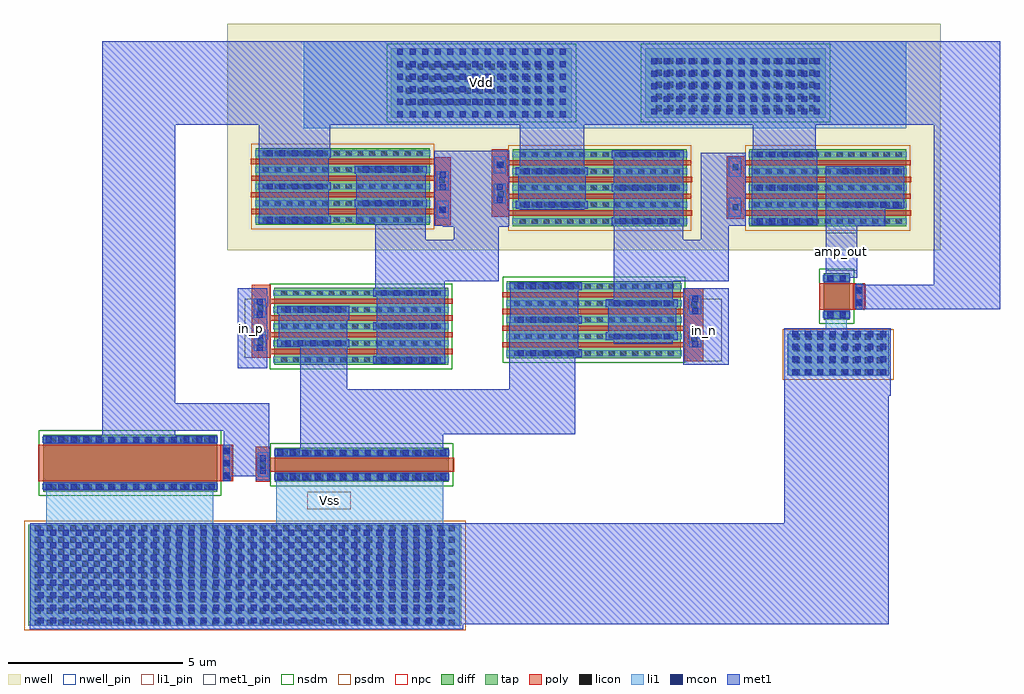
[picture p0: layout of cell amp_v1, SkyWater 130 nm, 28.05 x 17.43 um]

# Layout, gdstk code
from math import pi, radians
import gdstk
lib = gdstk.Library(unit=1e-6, precision=1e-09)
def R(c, l, rs):  # rectangles x0, y0, x1, y1
    for r in rs: c.add(gdstk.rectangle(r[:2], r[2:], *l))
def A(c, l, x, y, w, h, nx, ny, dx, dy):  # array of equal rectangles
    R(c, l, [(x+i*dx, y+j*dy, x+i*dx+w, y+j*dy+h) for i in range(nx) for j in range(ny)])
nwell_pin = (64, 16)
nwell = (64, 20)
diff = (65, 20)
tap = (65, 44)
poly = (66, 20)
licon = (66, 44)
li1_pin = (67, 16)
li1 = (67, 20)
mcon = (67, 44)
met1_pin = (68, 16)
met1 = (68, 20)
nsdm = (93, 44)
psdm = (94, 20)
npc = (95, 20)

sky130_fd_pr__nfet_01v8_ = lib.new_cell('sky130_fd_pr__nfet_01v8_L7MCXF')
R(sky130_fd_pr__nfet_01v8_, diff, [(-1.105,-2.5,1.105,2.5)])
A(sky130_fd_pr__nfet_01v8_, poly, -0.795, -2.59, 0.15, 5.22, 4, 1, 0.48, 0)
R(sky130_fd_pr__nfet_01v8_, poly, [(-1.195,-3.14,0.905,-2.59)])
A(sky130_fd_pr__nfet_01v8_, licon, -1.045, -2.295, 0.17, 0.17, 5, 14, 0.48, 0.34)
R(sky130_fd_pr__nfet_01v8_, licon, [(-0.605,-2.975,-0.435,-2.805), (0.345,-2.975,0.515,-2.805)])
A(sky130_fd_pr__nfet_01v8_, li1, -1.045, -2.52, 0.17, 5.04, 5, 1, 0.48, 0)
R(sky130_fd_pr__nfet_01v8_, li1, [(-0.795,-3.09,-0.245,-2.74), (0.155,-3.09,0.705,-2.74)])
A(sky130_fd_pr__nfet_01v8_, mcon, -0.565, -2.185, 0.17, 0.17, 1, 5, 0, 0.36)
A(sky130_fd_pr__nfet_01v8_, mcon, 0.395, -2.185, 0.17, 0.17, 1, 5, 0, 0.36)
A(sky130_fd_pr__nfet_01v8_, mcon, -1.045, 0.575, 0.17, 0.17, 3, 5, 0.96, 0.36)
R(sky130_fd_pr__nfet_01v8_, mcon, [(-0.785,-3,-0.615,-2.83), (-0.425,-3,-0.255,-2.83), (0.165,-3,0.335,-2.83), (0.525,-3,0.695,-2.83)])
A(sky130_fd_pr__nfet_01v8_, met1, -1.075, 0.345, 0.23, 0.105, 3, 1, 0.96, 0)
A(sky130_fd_pr__nfet_01v8_, met1, -1.075, 2.4, 0.23, 0.015, 3, 1, 0.96, 0)
R(sky130_fd_pr__nfet_01v8_, met1, [(-0.795,-3.09,-0.245,-2.74), (0.155,-3.09,0.705,-2.74), (-0.865,-2.69,-0.575,-2.66), (0.095,-2.69,0.385,-2.66), (-0.595,-2.415,-0.365,-2.37), (0.365,-2.415,0.595,-2.37), (-0.595,-2.37,0.595,-0.41), (-0.595,-0.41,-0.365,-0.345), (0.365,-0.41,0.595,-0.345), (-1.075,0.45,1.075,2.4)])
R(sky130_fd_pr__nfet_01v8_, nsdm, [(-1.23,-2.625,1.23,2.625)])
R(sky130_fd_pr__nfet_01v8_, npc, [(-0.705,-3.075,-0.335,-2.705), (0.245,-3.075,0.615,-2.705)])

sky130_fd_pr__pfet_01v8_ = lib.new_cell('sky130_fd_pr__pfet_01v8_CQ5Q4H')
R(sky130_fd_pr__pfet_01v8_, nwell, [(-1.285,-3,0.805,-2.93), (-1.285,-2.93,0.055,-2.91), (0.44,-2.93,0.805,-2.81), (-1.285,-2.91,-0.94,-2.705), (-0.555,-2.91,0.055,-2.725), (0.44,-2.81,1.285,-2.725), (-0.555,-2.725,1.285,-2.705), (-1.285,-2.705,1.285,2.65), (-1.285,2.65,-0.865,2.81), (0.985,2.65,1.285,3)])
R(sky130_fd_pr__pfet_01v8_, diff, [(-1.105,-2.5,1.105,2.5)])
R(sky130_fd_pr__pfet_01v8_, poly, [(-1.115,-3.1,0.835,-2.65), (-0.795,-2.65,-0.645,2.63), (-0.315,-2.65,-0.165,2.65), (0.165,-2.65,0.315,2.63), (0.645,-2.65,0.795,2.65)])
A(sky130_fd_pr__pfet_01v8_, licon, -1.045, -2.295, 0.17, 0.17, 5, 14, 0.48, 0.34)
R(sky130_fd_pr__pfet_01v8_, licon, [(-0.75,-2.935,-0.58,-2.765), (0.1,-2.935,0.27,-2.765)])
A(sky130_fd_pr__pfet_01v8_, li1, -1.045, -2.52, 0.17, 5.04, 5, 1, 0.48, 0)
R(sky130_fd_pr__pfet_01v8_, li1, [(-0.915,-3.05,-0.415,-2.7), (-0.115,-3.05,0.435,-2.7)])
A(sky130_fd_pr__pfet_01v8_, mcon, -0.565, -2.185, 0.17, 0.17, 1, 5, 0, 0.36)
A(sky130_fd_pr__pfet_01v8_, mcon, 0.395, -2.185, 0.17, 0.17, 1, 5, 0, 0.36)
A(sky130_fd_pr__pfet_01v8_, mcon, -1.045, 0.575, 0.17, 0.17, 3, 5, 0.96, 0.36)
R(sky130_fd_pr__pfet_01v8_, mcon, [(-0.75,-2.96,-0.58,-2.79), (-0.105,-2.96,0.065,-2.79), (0.255,-2.96,0.425,-2.79)])
A(sky130_fd_pr__pfet_01v8_, met1, -1.075, 0.345, 0.23, 0.055, 3, 1, 0.96, 0)
A(sky130_fd_pr__pfet_01v8_, met1, -1.075, 2.4, 0.23, 0.015, 3, 1, 0.96, 0)
R(sky130_fd_pr__pfet_01v8_, met1, [(-0.915,-3.05,-0.415,-2.7), (-0.115,-3.05,0.435,-2.7), (-0.595,-2.415,-0.365,-2.35), (0.365,-2.415,0.595,-2.35), (-0.595,-2.35,0.595,-0.4), (-0.595,-0.4,-0.365,-0.345), (0.365,-0.4,0.595,-0.345), (-1.075,0.4,1.085,2.4)])
R(sky130_fd_pr__pfet_01v8_, psdm, [(-1.23,-2.625,1.23,2.625)])
R(sky130_fd_pr__pfet_01v8_, npc, [(-0.85,-3.035,-0.48,-2.665), (0,-3.035,0.37,-2.665)])

c_sky130_fd_pr__pfet_01v8_ = lib.new_cell('sky130_fd_pr__pfet_01v8_FBJWLQ')
R(c_sky130_fd_pr__pfet_01v8_, nwell, [(-1.285,-2.75,-0.935,-2.4), (0.865,-2.56,1.285,-2.4), (-1.285,-2.4,1.285,2.46), (-1.285,2.46,-0.43,2.56), (0.03,2.46,1.285,2.485), (0.03,2.485,0.545,2.66), (0.895,2.485,1.285,2.665), (-0.805,2.56,-0.43,2.66), (-0.805,2.66,0.545,2.665), (-0.805,2.665,1.285,2.75)])
R(c_sky130_fd_pr__pfet_01v8_, diff, [(-1.105,-2.25,1.105,2.25)])
R(c_sky130_fd_pr__pfet_01v8_, poly, [(-0.795,-2.4,-0.645,2.4), (0.165,-2.4,0.315,2.4), (-0.315,-2.38,-0.165,2.4), (0.645,-2.38,0.795,2.4), (-0.885,2.4,0.915,2.9)])
A(c_sky130_fd_pr__pfet_01v8_, licon, -1.045, -2.125, 0.17, 0.17, 5, 13, 0.48, 0.34)
R(c_sky130_fd_pr__pfet_01v8_, licon, [(-0.645,2.565,-0.475,2.735), (0.505,2.565,0.675,2.735)])
A(c_sky130_fd_pr__pfet_01v8_, li1, -1.045, -2.27, 0.17, 4.54, 5, 1, 0.48, 0)
R(c_sky130_fd_pr__pfet_01v8_, li1, [(-0.835,2.5,-0.285,2.85), (0.315,2.5,0.865,2.85)])
A(c_sky130_fd_pr__pfet_01v8_, mcon, -0.565, -2.035, 0.17, 0.17, 1, 5, 0, 0.36)
A(c_sky130_fd_pr__pfet_01v8_, mcon, 0.395, -2.035, 0.17, 0.17, 1, 5, 0, 0.36)
A(c_sky130_fd_pr__pfet_01v8_, mcon, -1.045, 0.425, 0.17, 0.17, 3, 5, 0.96, 0.36)
A(c_sky130_fd_pr__pfet_01v8_, met1, -1.075, 0.295, 0.23, 0.005, 3, 1, 0.96, 0)
R(c_sky130_fd_pr__pfet_01v8_, met1, [(-0.585,-2.2,0.615,-2.165), (-0.595,-2.165,0.615,-0.3), (-0.595,-0.3,-0.365,-0.295), (0.365,-0.3,0.595,-0.295), (-1.075,0.3,1.075,2.165), (-1.075,2.165,1.065,2.19)])
R(c_sky130_fd_pr__pfet_01v8_, psdm, [(-1.23,-2.375,1.23,2.375)])
R(c_sky130_fd_pr__pfet_01v8_, npc, [(-0.745,2.465,-0.375,2.835), (0.405,2.465,0.775,2.835)])

c_sky130_fd_pr__nfet_01v8_ = lib.new_cell('sky130_fd_pr__nfet_01v8_8C4LHH')
R(c_sky130_fd_pr__nfet_01v8_, diff, [(-0.665,-0.53,0.665,0.22)])
R(c_sky130_fd_pr__nfet_01v8_, poly, [(-0.375,-0.66,0.375,0.66)])
R(c_sky130_fd_pr__nfet_01v8_, licon, [(-0.605,-0.41,-0.435,-0.24), (0.435,-0.41,0.605,-0.24), (-0.605,-0.07,-0.435,0.1), (0.435,-0.07,0.605,0.1), (-0.255,0.41,-0.085,0.58), (0.085,0.41,0.255,0.58)])
R(c_sky130_fd_pr__nfet_01v8_, li1, [(-0.605,-0.55,-0.435,0.24), (0.435,-0.55,0.605,0.24), (-0.375,0.41,0.375,0.58)])
R(c_sky130_fd_pr__nfet_01v8_, mcon, [(-0.605,-0.42,-0.435,-0.25), (0.435,-0.42,0.605,-0.25), (-0.605,-0.06,-0.435,0.11), (0.435,-0.06,0.605,0.11), (-0.265,0.41,-0.095,0.58), (0.095,0.41,0.265,0.58)])
R(c_sky130_fd_pr__nfet_01v8_, met1, [(-0.635,-0.53,-0.405,0.22), (0.405,-0.53,0.635,0.22), (-0.355,0.38,0.355,0.61)])
R(c_sky130_fd_pr__nfet_01v8_, nsdm, [(-0.79,-0.655,0.79,0.345)])
R(c_sky130_fd_pr__nfet_01v8_, npc, [(-0.355,0.31,0.355,0.68)])

c_sky130_fd_pr__nfet_01v8__ = lib.new_cell('sky130_fd_pr__nfet_01v8_QREW3P')
R(c_sky130_fd_pr__nfet_01v8__, diff, [(-0.49,-2.5,0.49,2.5)])
R(c_sky130_fd_pr__nfet_01v8__, poly, [(-0.2,-2.66,0.2,2.64), (-0.49,2.64,0.51,3.04)])
A(c_sky130_fd_pr__nfet_01v8__, licon, -0.43, -2.295, 0.17, 0.17, 1, 14, 0, 0.34)
A(c_sky130_fd_pr__nfet_01v8__, licon, 0.26, -2.295, 0.17, 0.17, 1, 14, 0, 0.34)
R(c_sky130_fd_pr__nfet_01v8__, licon, [(-0.075,2.755,0.095,2.925)])
R(c_sky130_fd_pr__nfet_01v8__, li1, [(-0.43,-2.52,-0.26,2.52), (0.26,-2.52,0.43,2.52), (-0.34,2.69,0.36,2.99)])
A(c_sky130_fd_pr__nfet_01v8__, mcon, -0.43, -2.425, 0.17, 0.17, 1, 14, 0, 0.36)
A(c_sky130_fd_pr__nfet_01v8__, mcon, 0.26, -2.425, 0.17, 0.17, 1, 14, 0, 0.36)
R(c_sky130_fd_pr__nfet_01v8__, mcon, [(-0.255,2.755,-0.085,2.925), (0.105,2.755,0.275,2.925)])
R(c_sky130_fd_pr__nfet_01v8__, met1, [(-0.46,-2.5,-0.23,2.5), (0.23,-2.5,0.46,2.5), (-0.44,2.64,0.46,3.04)])
R(c_sky130_fd_pr__nfet_01v8__, nsdm, [(-0.615,-2.625,0.615,2.625)])
R(c_sky130_fd_pr__nfet_01v8__, npc, [(-0.175,2.655,0.195,3.025)])

c_sky130_fd_pr__nfet_01v8___ = lib.new_cell('sky130_fd_pr__nfet_01v8_P64V6L')
R(c_sky130_fd_pr__nfet_01v8___, diff, [(-0.815,-2.5,0.815,2.5)])
R(c_sky130_fd_pr__nfet_01v8___, poly, [(-0.525,-2.94,0.525,2.64)])
A(c_sky130_fd_pr__nfet_01v8___, licon, -0.425, -2.86, 0.17, 0.17, 3, 1, 0.34, 0)
A(c_sky130_fd_pr__nfet_01v8___, licon, -0.755, -2.295, 0.17, 0.17, 1, 14, 0, 0.34)
A(c_sky130_fd_pr__nfet_01v8___, licon, 0.585, -2.295, 0.17, 0.17, 1, 14, 0, 0.34)
R(c_sky130_fd_pr__nfet_01v8___, li1, [(-0.525,-2.86,0.525,-2.69), (-0.755,-2.52,-0.585,2.52), (0.585,-2.52,0.755,2.52)])
A(c_sky130_fd_pr__nfet_01v8___, mcon, -0.445, -2.86, 0.17, 0.17, 3, 1, 0.36, 0)
A(c_sky130_fd_pr__nfet_01v8___, mcon, -0.755, -2.425, 0.17, 0.17, 1, 14, 0, 0.36)
A(c_sky130_fd_pr__nfet_01v8___, mcon, 0.585, -2.425, 0.17, 0.17, 1, 14, 0, 0.36)
R(c_sky130_fd_pr__nfet_01v8___, met1, [(-0.505,-2.89,0.505,-2.66), (-0.785,-2.5,-0.555,2.5), (0.555,-2.5,0.785,2.5)])
R(c_sky130_fd_pr__nfet_01v8___, nsdm, [(-0.94,-2.625,0.94,2.625)])
R(c_sky130_fd_pr__nfet_01v8___, npc, [(-0.525,-2.96,0.525,-2.59)])

amp_v1 = lib.new_cell('amp_v1')
R(amp_v1, nwell_pin, [(-0.8,23.3,4.4,25.3)])
R(amp_v1, nwell, [(-5.5,19.5,15,26)])
R(amp_v1, tap, [(-11.22,8.7,1.22,11.6), (10.58,15.9,13.52,17.1), (-0.8,23.3,4.4,25.3), (6.5,23.3,11.7,25.3)])
A(amp_v1, licon, -11.035, 8.705, 0.17, 0.17, 36, 9, 0.34, 0.34)
A(amp_v1, licon, 10.775, 15.905, 0.17, 0.17, 8, 4, 0.34, 0.34)
A(amp_v1, licon, 6.805, 23.485, 0.17, 0.17, 14, 5, 0.34, 0.34)
A(amp_v1, licon, -0.375, 23.655, 0.17, 0.17, 13, 4, 0.34, 0.34)
R(amp_v1, li1_pin, [(-3.2,12.05,-1.95,12.55)])
R(amp_v1, li1, [(-11.18,8.7,1.18,11.6), (-10.7,11.6,-5.9,12.7), (-4.1,11.6,0.7,13), (10.655,15.89,13.51,15.9), (10.62,15.9,13.51,17.1), (10.655,17.1,13.51,17.185), (11.7,17.185,12.3,17.7), (-3.3,23,14,25.5)])
A(amp_v1, mcon, -10.945, 8.77, 0.17, 0.17, 33, 8, 0.36, 0.36)
A(amp_v1, mcon, 10.735, 15.91, 0.17, 0.17, 8, 4, 0.36, 0.36)
A(amp_v1, mcon, -0.625, 23.315, 0.17, 0.17, 14, 6, 0.36, 0.36)
A(amp_v1, mcon, 6.675, 23.395, 0.17, 0.17, 14, 5, 0.36, 0.36)
R(amp_v1, met1_pin, [(7.7,16.3,8.7,18.1), (-5,16.4,-4.6,18.1), (11.7,18.9,12.6,20)])
R(amp_v1, met1, [(-11.185,8.6,1.275,8.75), (-11.185,8.75,13.5,8.83), (-11.165,8.83,13.5,11.65), (-11.165,11.65,1.035,11.655), (10.5,11.65,13.5,15.305), (-5.6,13,-4.3,14.3), (-3.4,13.6,0.7,14.2), (-9.1,14,-7,14.3), (-3.4,14.2,4.5,15.5), (-9.1,14.3,-4.3,15.1), (-9.1,15.1,-7,23.1), (10.5,15.305,13.555,17), (-3.4,15.5,-2.05,17.5), (2.6,15.5,4.5,17.4), (-5.2,16.1,-4.35,18.4), (7.6,16.2,8.9,18.4), (5.6,16.8,7.3,18.6), (10.505,17,13.555,17.25), (-3.45,17.5,-2,17.9), (12.6,17.8,16.7,18.5), (-1.25,18.15,0.75,18.6), (14.8,18.5,16.7,23.1), (-1.25,18.6,2.3,19.8), (5.6,18.6,8.9,19.8), (11.7,18.7,12.6,20.2), (-1.25,19.8,0.2,20.25), (1,19.8,2.3,20.175), (5.6,19.8,7.6,20.9), (8.1,19.8,8.9,20.2), (0.685,20.175,2.585,20.2), (0.45,20.2,2.6,22.35), (8.1,20.2,9.4,22.3), (11.7,20.2,13.4,21.9), (-1.8,20.25,0.2,21.9), (2.9,20.65,4.75,23.1), (9.6,22,11.4,23.1), (-4.6,22.15,-2.55,23.1), (-9.1,23.1,16.7,25.5)])
R(amp_v1, nsdm, [(-0.925,23.175,4.525,25.425), (6.375,23.175,11.825,25.425)])
R(amp_v1, psdm, [(-11.345,8.575,1.345,11.725), (10.455,15.775,13.645,17.225)])
amp_v1.add(gdstk.Reference(sky130_fd_pr__nfet_01v8_, (5.03,17.495), rotation=pi/2))
amp_v1.add(gdstk.Reference(sky130_fd_pr__pfet_01v8_, (-2.185,21.325), rotation=pi/2))
amp_v1.add(gdstk.Reference(c_sky130_fd_pr__pfet_01v8_, (11.75,21.285), rotation=pi/2))
amp_v1.add(gdstk.Reference(sky130_fd_pr__pfet_01v8_, (5.2,21.285), rotation=3*pi/2))
amp_v1.add(gdstk.Reference(c_sky130_fd_pr__nfet_01v8_, (12.16,18.165), rotation=3*pi/2))
amp_v1.add(gdstk.Reference(sky130_fd_pr__nfet_01v8_, (-1.66,17.305), rotation=3*pi/2))
amp_v1.add(gdstk.Reference(c_sky130_fd_pr__nfet_01v8__, (-1.64,13.33), rotation=pi/2))
amp_v1.add(gdstk.Reference(c_sky130_fd_pr__nfet_01v8___, (-8.295,13.375), rotation=pi/2))
amp_v1.add(gdstk.Label('amp_out', (12.15,19.45), layer=68, texttype=5))
amp_v1.add(gdstk.Label('in_n', (8.2,17.2), layer=68, texttype=5))
amp_v1.add(gdstk.Label('in_p', (-4.8,17.25), layer=68, texttype=5))
amp_v1.add(gdstk.Label('Vdd', (1.8,24.3), layer=64, texttype=5))
amp_v1.add(gdstk.Label('Vss', (-2.575,12.3), layer=67, texttype=5))

lib.write_gds('amp_v1.gds')
